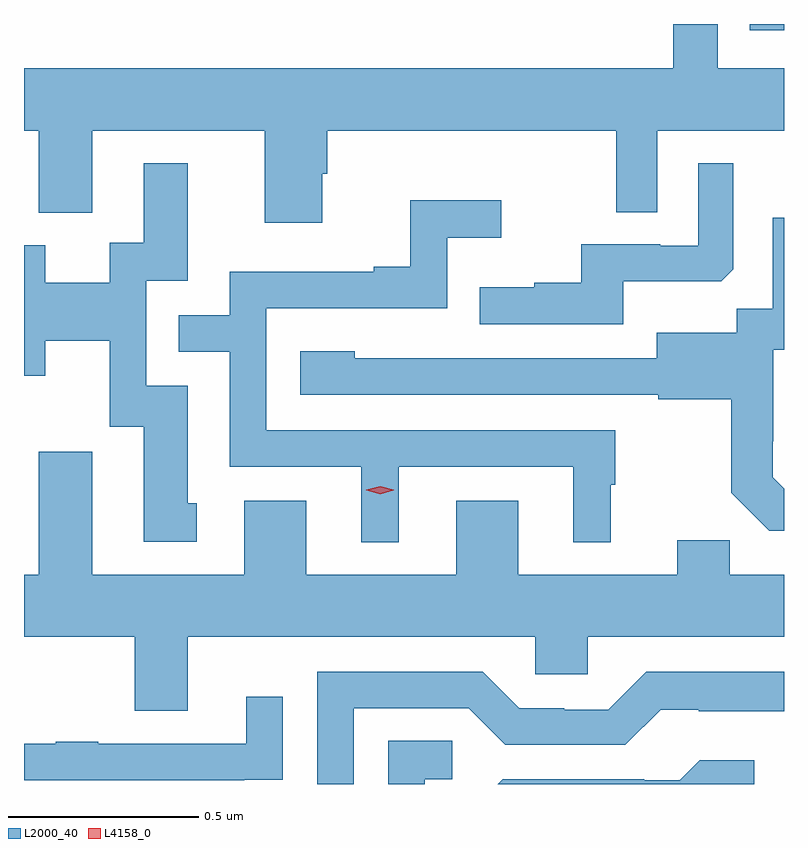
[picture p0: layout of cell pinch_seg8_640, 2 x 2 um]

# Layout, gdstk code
import gdstk
lib = gdstk.Library(unit=1e-6, precision=1e-09)
def R(c, l, rs):  # rectangles x0, y0, x1, y1
    for r in rs: c.add(gdstk.rectangle(r[:2], r[2:], *l))
def P(c, l, *ps):  # polygons
    for p in ps: c.add(gdstk.Polygon(p, *l))
L2000_40 = (2000, 40)
L4158_0 = (4158, 0)

pinch_seg8_640 = lib.new_cell('pinch_seg8_640')
R(pinch_seg8_640, L2000_40, [(223.966,1091.456,224.056,1091.473)])
P(pinch_seg8_640, L2000_40, [(222.841,1091.079),(222.854,1091.079),(222.854,1091.192),(223.614,1091.192),(223.614,1090.978),(223.722,1090.978),(223.722,1091.192),(224.056,1091.192),(224.056,1091.356),(223.881,1091.356),(223.881,1091.473),(223.765,1091.473),(223.765,1091.356),(222.056,1091.356),(222.056,1091.192),(222.095,1091.192),(222.095,1090.976),(222.235,1090.976),(222.235,1091.192),(222.689,1091.192),(222.689,1090.95),(222.841,1090.95)],
  [(223.633,1090.796),(223.891,1090.796),(223.923,1090.827),(223.923,1091.107),(223.83,1091.107),(223.83,1090.89),(223.73,1090.89),(223.73,1090.893),(223.523,1090.893),(223.523,1090.792),(223.399,1090.792),(223.399,1090.78),(223.255,1090.78),(223.255,1090.683),(223.633,1090.683)],
  [(222.511,1090.212),(222.487,1090.212),(222.487,1090.521),(222.378,1090.521),(222.378,1090.797),(222.487,1090.797),(222.487,1091.107),(222.371,1091.107),(222.371,1090.898),(222.281,1090.898),(222.281,1090.792),(222.112,1090.792),(222.112,1090.891),(222.056,1090.891),(222.056,1090.547),(222.112,1090.547),(222.112,1090.64),(222.282,1090.64),(222.282,1090.413),(222.371,1090.413),(222.371,1090.11),(222.511,1090.11)],
  [(223.042,1090.308),(223.502,1090.308),(223.502,1090.109),(223.6,1090.109),(223.6,1090.26),(223.612,1090.26),(223.612,1090.404),(222.693,1090.404),(222.693,1090.725),(223.17,1090.725),(223.17,1090.91),(223.312,1090.91),(223.312,1091.009),(223.072,1091.009),(223.072,1090.834),(222.977,1090.834),(222.977,1090.821),(222.597,1090.821),(222.597,1090.707),(222.463,1090.707),(222.463,1090.611),(222.597,1090.611),(222.597,1090.308),(222.944,1090.308),(222.944,1090.109),(223.042,1090.109)],
  [(224.056,1090.25),(224.026,1090.28),(224.026,1090.375),(224.028,1090.375),(224.028,1090.616),(224.056,1090.616),(224.056,1090.963),(224.027,1090.963),(224.027,1090.724),(223.932,1090.724),(223.932,1090.66),(223.721,1090.66),(223.721,1090.593),(223.163,1090.593),(223.163,1090.594),(222.927,1090.594),(222.927,1090.612),(222.783,1090.612),(222.783,1090.497),(223.725,1090.497),(223.725,1090.485),(223.917,1090.485),(223.917,1090.239),(224.017,1090.139),(224.056,1090.139)],
  [(222.487,1089.86),(223.401,1089.86),(223.401,1089.762),(223.539,1089.762),(223.539,1089.86),(224.056,1089.86),(224.056,1090.024),(223.913,1090.024),(223.913,1090.115),(223.775,1090.115),(223.775,1090.024),(223.357,1090.024),(223.357,1090.219),(223.193,1090.219),(223.193,1090.024),(222.799,1090.024),(222.799,1090.219),(222.635,1090.219),(222.635,1090.024),(222.235,1090.024),(222.235,1090.348),(222.095,1090.348),(222.095,1090.024),(222.056,1090.024),(222.056,1089.86),(222.347,1089.86),(222.347,1089.666),(222.487,1089.666)],
  [(222.924,1089.672),(223.227,1089.672),(223.323,1089.576),(223.638,1089.576),(223.731,1089.669),(223.831,1089.669),(223.831,1089.665),(224.056,1089.665),(224.056,1089.769),(223.693,1089.769),(223.593,1089.669),(223.478,1089.669),(223.478,1089.672),(223.359,1089.672),(223.263,1089.768),(222.828,1089.768),(222.828,1089.473),(222.924,1089.473)],
  [(222.635,1089.484),(222.737,1089.484),(222.737,1089.703),(222.641,1089.703),(222.641,1089.579),(222.251,1089.579),(222.251,1089.584),(222.139,1089.584),(222.139,1089.579),(222.056,1089.579),(222.056,1089.483),(222.635,1089.483)],
  [(223.11,1089.486),(223.183,1089.486),(223.183,1089.587),(223.014,1089.587),(223.014,1089.473),(223.11,1089.473)],
  [(223.978,1089.535),(223.834,1089.535),(223.782,1089.483),(223.688,1089.483),(223.688,1089.486),(223.316,1089.486),(223.303,1089.473),(223.978,1089.473)])
P(pinch_seg8_640, L4158_0, [(222.993,1090.236),(222.957,1090.246),(222.957,1090.246),(222.957,1090.247),(222.993,1090.256),(223.029,1090.247),(223.029,1090.246),(223.029,1090.246)])

lib.write_gds('pinch_seg8_640.gds')
